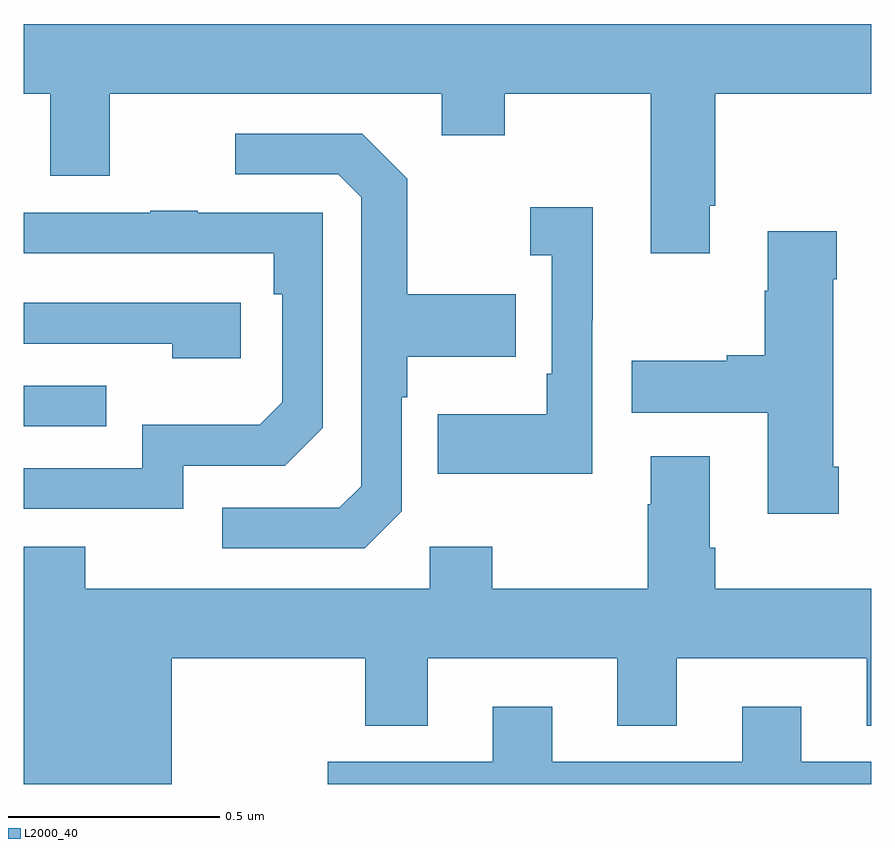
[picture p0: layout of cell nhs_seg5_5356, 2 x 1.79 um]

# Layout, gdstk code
import gdstk
lib = gdstk.Library(unit=1e-6, precision=1e-09)
def R(c, l, rs):  # rectangles x0, y0, x1, y1
    for r in rs: c.add(gdstk.rectangle(r[:2], r[2:], *l))
def P(c, l, *ps):  # polygons
    for p in ps: c.add(gdstk.Polygon(p, *l))
L2000_40 = (2000, 40)

nhs_seg5_5356 = lib.new_cell('nhs_seg5_5356')
R(nhs_seg5_5356, L2000_40, [(182,854.643,182.195,854.739)])
P(nhs_seg5_5356, L2000_40, [(183.619,855.163),(183.632,855.163),(183.632,855.428),(184,855.428),(184,855.592),(182,855.592),(182,855.428),(182.063,855.428),(182.063,855.234),(182.203,855.234),(182.203,855.428),(182.987,855.428),(182.987,855.329),(183.135,855.329),(183.135,855.428),(183.479,855.428),(183.479,855.051),(183.619,855.051)],
  [(182.892,854.442),(182.892,854.711),(182.905,854.711),(182.905,854.807),(183.161,854.807),(183.161,854.955),(182.905,854.955),(182.905,855.227),(182.799,855.333),(182.499,855.333),(182.499,855.237),(182.742,855.237),(182.796,855.183),(182.796,854.502),(182.745,854.451),(182.469,854.451),(182.469,854.355),(182.805,854.355)],
  [(183.342,854.893),(183.343,854.893),(183.343,855.16),(183.195,855.16),(183.195,855.047),(183.246,855.047),(183.246,854.767),(183.234,854.767),(183.234,854.671),(182.977,854.671),(182.977,854.531),(183.342,854.531)],
  [(182.376,854.55),(182.616,854.55),(182.706,854.64),(182.706,855.147),(182.411,855.147),(182.411,855.152),(182.299,855.152),(182.299,855.147),(182,855.147),(182,855.051),(182.59,855.051),(182.59,854.954),(182.61,854.954),(182.61,854.7),(182.557,854.647),(182.28,854.647),(182.28,854.544),(182,854.544),(182,854.448),(182.376,854.448)],
  [(183.923,854.548),(183.91,854.548),(183.91,854.99),(183.918,854.99),(183.918,855.103),(183.755,855.103),(183.755,854.963),(183.748,854.963),(183.748,854.81),(183.659,854.81),(183.659,854.797),(183.435,854.797),(183.435,854.675),(183.755,854.675),(183.755,854.436),(183.923,854.436)],
  [(182.512,854.934),(182,854.934),(182,854.838),(182.351,854.838),(182.351,854.804),(182.512,854.804)],
  [(182.35,854.096),(182.806,854.096),(182.806,853.937),(182.953,853.937),(182.953,854.096),(183.401,854.096),(183.401,853.936),(183.541,853.936),(183.541,854.096),(183.989,854.096),(183.989,853.936),(184,853.936),(184,854.26),(183.632,854.26),(183.632,854.356),(183.619,854.356),(183.619,854.572),(183.479,854.572),(183.479,854.459),(183.472,854.459),(183.472,854.26),(183.105,854.26),(183.105,854.359),(182.958,854.359),(182.958,854.26),(182.145,854.26),(182.145,854.359),(182,854.359),(182,853.799),(182.35,853.799)],
  [(184,853.851),(183.835,853.851),(183.835,853.981),(183.695,853.981),(183.695,853.851),(183.247,853.851),(183.247,853.981),(183.107,853.981),(183.107,853.852),(182.717,853.852),(182.717,853.799),(184,853.799)])

lib.write_gds('nhs_seg5_5356.gds')
